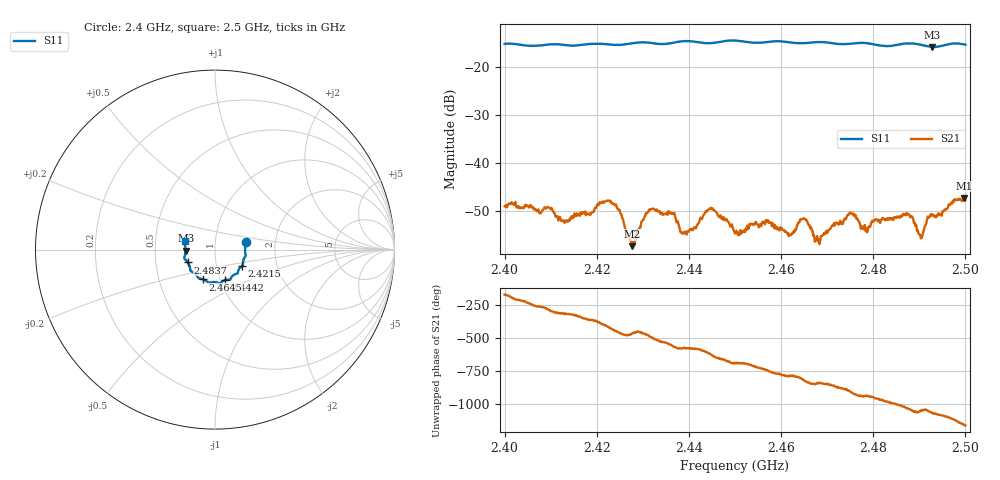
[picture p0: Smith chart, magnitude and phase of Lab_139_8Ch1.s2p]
# Hz S RI R 50
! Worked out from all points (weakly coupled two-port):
!   601 points, 2.4 GHz to 2.5 GHz, reference 50 ohm
!   highest |S21| = -47.30 dB at 2.4997 GHz (marker M1); lowest = -57.3 dB at 2.4277 GHz (marker M2)
!   lowest |S11| = -15.7 dB at 2.4928 GHz (marker M3), VSWR 1.39, Z = 36 - j0.377 ohm
!   |S11| at or under -10 dB: start of sweep to end of sweep
!   S12 and S22 are empty: the file has one direction only
!   S11 on the Smith chart (normalised r, x): 2.4 GHz: 1.41, +0.12; 2.4215 GHz: 1.33, -0.25; 2.4442 GHz: 1.05, -0.37; 2.4645 GHz: 0.83, -0.29; 2.4837 GHz: 0.73, -0.11; 2.5 GHz: 0.71, +0.07
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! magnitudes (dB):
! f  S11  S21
! 2.4 GHz  -15.1  -49.0
! 2.4167 GHz  -15.3  -50.3
! 2.4215 GHz  -15.1  -48.3
! 2.4245 GHz  -15.3  -49.5
! 2.4277 GHz  -15.0  -57.3
! 2.431 GHz  -14.8  -50.3
! 2.4333 GHz  -15.1  -50.0
! 2.439 GHz  -14.5  -54.7
! 2.4442 GHz  -15.0  -49.7
! 2.45 GHz  -14.4  -54.7
! 2.4572 GHz  -14.7  -51.9
! 2.462 GHz  -14.8  -55.0
! 2.4645 GHz  -15.0  -51.8
! 2.4667 GHz  -14.8  -54.0
! 2.475 GHz  -15.1  -50.3
! 2.4833 GHz  -15.6  -51.8
! 2.4837 GHz  -15.5  -51.5
! 2.488 GHz  -15.0  -51.3
! 2.4903 GHz  -15.3  -55.7
! 2.4928 GHz  -15.7  -50.7
! 2.4997 GHz  -15.2  -47.3
! 2.5 GHz  -15.3  -47.7
